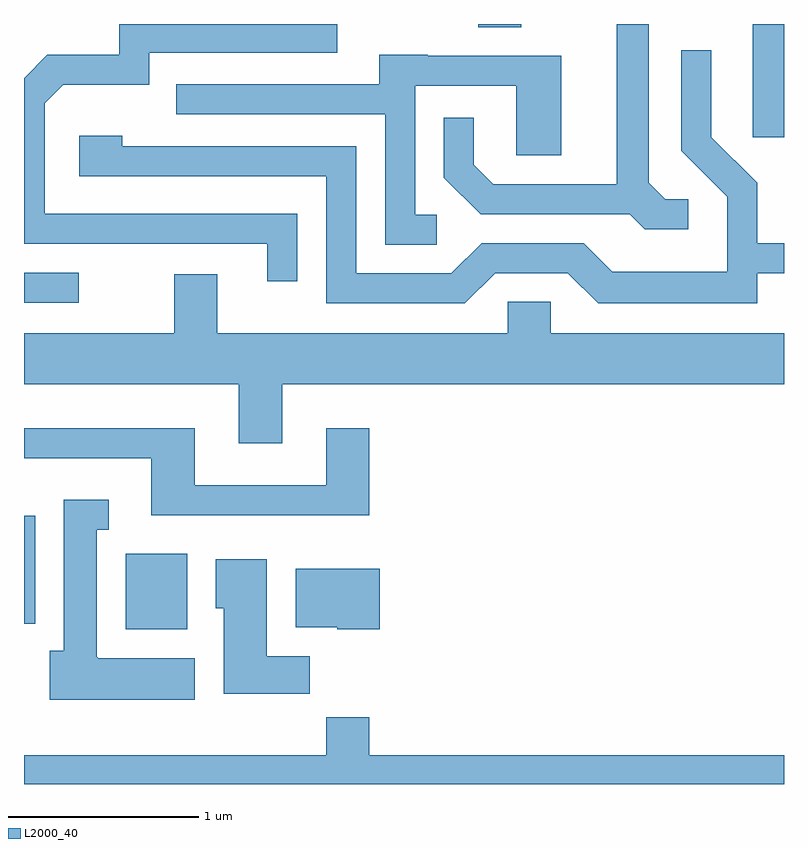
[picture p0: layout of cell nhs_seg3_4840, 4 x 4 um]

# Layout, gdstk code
import gdstk
lib = gdstk.Library(unit=1e-6, precision=1e-09)
def R(c, l, rs):  # rectangles x0, y0, x1, y1
    for r in rs: c.add(gdstk.rectangle(r[:2], r[2:], *l))
def P(c, l, *ps):  # polygons
    for p in ps: c.add(gdstk.Polygon(p, *l))
L2000_40 = (2000, 40)

nhs_seg3_4840 = lib.new_cell('nhs_seg3_4840')
R(nhs_seg3_4840, L2000_40, [(328.146,1144.706,328.469,1145.104), (327.611,1144.736,327.669,1145.304), (327.611,1146.426,327.898,1146.584), (331.446,1147.296,331.611,1147.892), (330.001,1147.876,330.229,1147.892)])
P(nhs_seg3_4840, L2000_40, [(329.049,1146.894),(327.719,1146.894),(327.719,1147.474),(327.817,1147.571),(328.269,1147.571),(328.269,1147.741),(329.259,1147.741),(329.259,1147.892),(328.111,1147.892),(328.111,1147.729),(327.734,1147.729),(327.611,1147.607),(327.611,1146.736),(328.891,1146.736),(328.891,1146.538),(329.049,1146.538)],
  [(331.108,1146.969),(330.987,1146.969),(330.899,1147.057),(330.899,1147.892),(330.731,1147.892),(330.731,1147.049),(330.082,1147.049),(329.979,1147.152),(329.979,1147.398),(329.821,1147.398),(329.821,1147.084),(330.014,1146.891),(330.799,1146.891),(330.879,1146.811),(331.108,1146.811)],
  [(330.092,1146.581),(330.474,1146.581),(330.634,1146.421),(331.469,1146.421),(331.469,1146.581),(331.611,1146.581),(331.611,1146.739),(331.469,1146.739),(331.469,1147.057),(331.229,1147.297),(331.229,1147.753),(331.071,1147.753),(331.071,1147.224),(331.311,1146.984),(331.311,1146.589),(330.707,1146.589),(330.557,1146.739),(330.019,1146.739),(329.859,1146.579),(329.359,1146.579),(329.359,1147.249),(328.129,1147.249),(328.129,1147.304),(327.901,1147.304),(327.901,1147.091),(329.201,1147.091),(329.201,1146.421),(329.932,1146.421)],
  [(329.783,1146.889),(329.669,1146.889),(329.669,1147.566),(330.201,1147.566),(330.201,1147.201),(330.439,1147.201),(330.439,1147.724),(329.735,1147.724),(329.735,1147.729),(329.481,1147.729),(329.481,1147.574),(328.413,1147.574),(328.413,1147.416),(329.511,1147.416),(329.511,1146.731),(329.783,1146.731)],
  [(328.969,1145.996),(331.611,1145.996),(331.611,1146.264),(330.384,1146.264),(330.384,1146.429),(330.156,1146.429),(330.156,1146.264),(328.629,1146.264),(328.629,1146.574),(328.401,1146.574),(328.401,1146.264),(327.611,1146.264),(327.611,1145.996),(328.741,1145.996),(328.741,1145.686),(328.969,1145.686)],
  [(329.429,1145.764),(329.201,1145.764),(329.201,1145.464),(328.509,1145.464),(328.509,1145.764),(327.611,1145.764),(327.611,1145.606),(328.281,1145.606),(328.281,1145.306),(329.429,1145.306)],
  [(328.509,1144.554),(328,1144.554),(328,1144.56),(327.994,1144.56),(327.994,1145.231),(328.058,1145.231),(328.058,1145.389),(327.821,1145.389),(327.821,1144.594),(327.746,1144.594),(327.746,1144.336),(328.509,1144.336)],
  [(329.114,1144.564),(328.889,1144.564),(328.889,1145.074),(328.621,1145.074),(328.621,1144.816),(328.661,1144.816),(328.661,1144.366),(329.114,1144.366)],
  [(329.484,1145.024),(329.041,1145.024),(329.041,1144.716),(329.26,1144.716),(329.26,1144.706),(329.484,1144.706)],
  [(331.611,1144.044),(329.429,1144.044),(329.429,1144.244),(329.201,1144.244),(329.201,1144.044),(327.611,1144.044),(327.611,1143.892),(331.611,1143.892)])

lib.write_gds('nhs_seg3_4840.gds')
